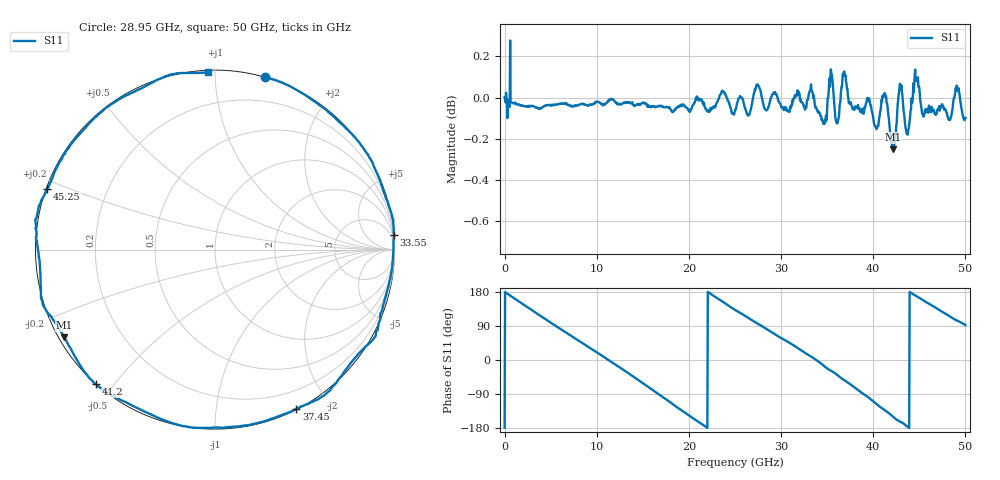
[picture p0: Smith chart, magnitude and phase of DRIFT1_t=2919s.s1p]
!Created with skrf (http://scikit-rf.org).
# Hz S RI R 50.0
!freq ReS11 ImS11
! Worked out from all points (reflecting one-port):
!   1001 points, 300 kHz to 50 GHz, reference 50 ohm
!   lowest |S11| = -0.3 dB at 42.15 GHz (marker M1), VSWR 69.14, Z = 0.776 - j13.5 ohm
!   phase of S11 starts at -179 deg and turns -809 deg over the sweep
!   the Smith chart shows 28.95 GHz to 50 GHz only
!   S11 on the Smith chart (normalised r, x): 28.95 GHz: -0.00, +1.33; 33.55 GHz: -0, +24; 37.45 GHz: 0.01, -1.63; 41.2 GHz: -0.00, -0.45; 45.25 GHz: 0.00, +0.17; 50 GHz: 0.01, +0.96
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300000  -1 -0.0196
1.65029e9  -0.8864 0.4532
3.40028e9  -0.5608 0.8211
6.250262e9  0.1926 0.9778
9.600242e9  0.8924 0.443
1.115023e10  0.997 0.0329
1.250022e10  0.938 -0.3366
1.580021e10  0.264 -0.959
1.73002e10  -0.1775 -0.9786
1.875019e10  -0.5768 -0.8102
2.050018e10  -0.9004 -0.426
2.180017e10  -0.9911 -0.0718
2.345016e10  -0.9238 0.3878
2.500015e10  -0.6667 0.7351
2.720014e10  -0.1676 0.99
2.895013e10  0.2793 0.9607
3.125011e10  0.7628 0.6446
3.35501e10  0.9979 0.0816
3.550009e10  0.8809 -0.5002
3.745008e10  0.4532 -0.888
3.750008e10  0.4365 -0.8958
3.940006e10  -0.1307 -0.9911
4.120005e10  -0.6641 -0.7503
4.215005e10  -0.8402 -0.4877
4.375004e10  -0.9777 -0.0586
4.525003e10  -0.9343 0.3373
4.765001e10  -0.5674 0.8162
5e10  -0.0377 0.9879
